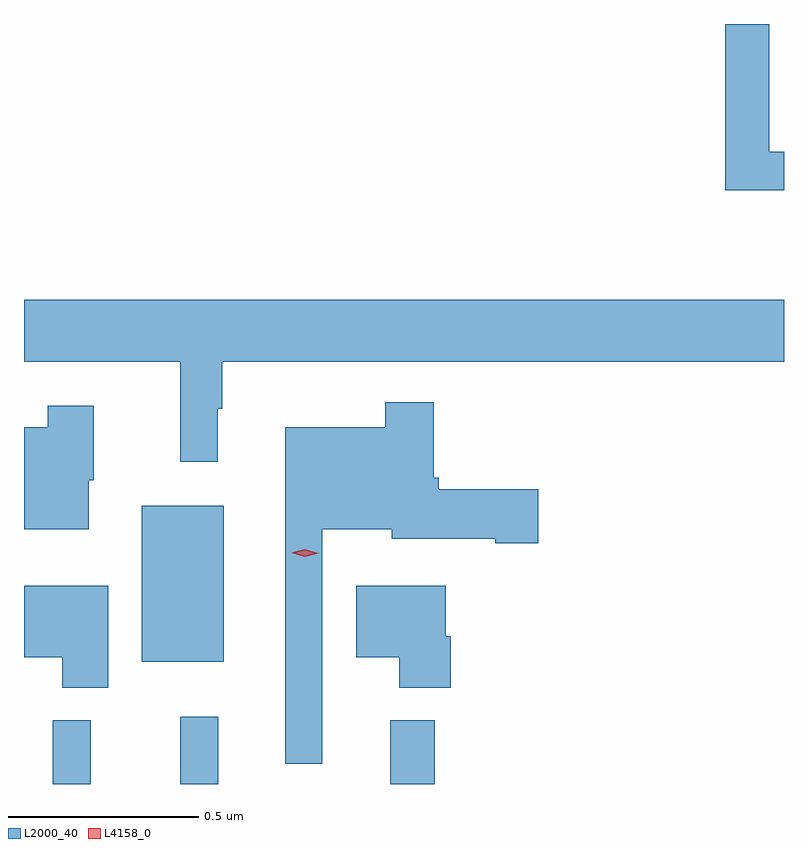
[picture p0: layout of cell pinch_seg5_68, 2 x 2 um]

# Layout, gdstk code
import gdstk
lib = gdstk.Library(unit=1e-6, precision=1e-09)
def R(c, l, rs):  # rectangles x0, y0, x1, y1
    for r in rs: c.add(gdstk.rectangle(r[:2], r[2:], *l))
def P(c, l, *ps):  # polygons
    for p in ps: c.add(gdstk.Polygon(p, *l))
L2000_40 = (2000, 40)
L4158_0 = (4158, 0)

pinch_seg5_68 = lib.new_cell('pinch_seg5_68')
R(pinch_seg5_68, L2000_40, [(1057.562,912.925,1057.662,913.093), (1057.897,912.925,1057.997,913.102), (1058.45,912.925,1058.567,913.093), (1057.796,913.247,1058.011,913.657)])
P(pinch_seg5_68, L2000_40, [(1059.486,914.589),(1059.447,914.589),(1059.447,914.925),(1059.331,914.925),(1059.331,914.488),(1059.486,914.488)],
  [(1057.996,913.913),(1058.008,913.913),(1058.008,914.036),(1059.486,914.036),(1059.486,914.2),(1057.486,914.2),(1057.486,914.036),(1057.897,914.036),(1057.897,913.773),(1057.996,913.773)],
  [(1058.271,913.595),(1058.454,913.595),(1058.454,913.571),(1058.726,913.571),(1058.726,913.559),(1058.839,913.559),(1058.839,913.701),(1058.578,913.701),(1058.578,913.731),(1058.564,913.731),(1058.564,913.93),(1058.436,913.93),(1058.436,913.864),(1058.174,913.864),(1058.174,912.978),(1058.271,912.978)],
  [(1057.657,913.725),(1057.669,913.725),(1057.669,913.921),(1057.548,913.921),(1057.548,913.864),(1057.486,913.864),(1057.486,913.595),(1057.657,913.595)],
  [(1058.609,913.314),(1058.596,913.314),(1058.596,913.447),(1058.36,913.447),(1058.36,913.259),(1058.474,913.259),(1058.474,913.178),(1058.609,913.178)],
  [(1057.708,913.447),(1057.486,913.447),(1057.486,913.259),(1057.586,913.259),(1057.586,913.178),(1057.708,913.178)])
P(pinch_seg5_68, L4158_0, [(1058.225,913.523),(1058.19,913.534),(1058.189,913.534),(1058.19,913.534),(1058.225,913.543),(1058.26,913.532),(1058.261,913.532),(1058.26,913.532)])

lib.write_gds('pinch_seg5_68.gds')
